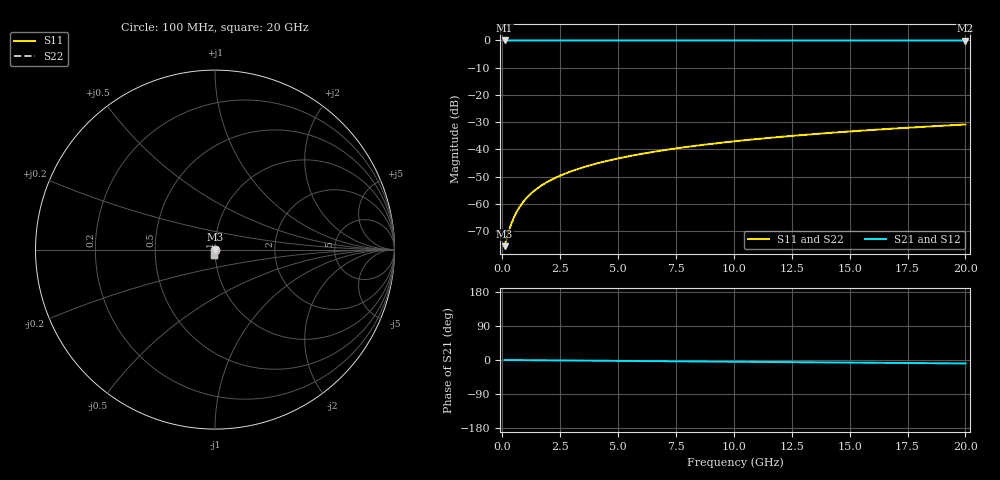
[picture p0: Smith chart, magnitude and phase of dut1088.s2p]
! Touchstone file exported from HFSS 2026.1.0
!  File:  C:/ffzhzh/LocalFiles/Ansys_Project_Files/temp_train_TSV_1088_1783190260_18472.aedt
!  Generated:  02:39:09 AM Jul  5, 2026
!  Design:  TSV
!  Project:  temp_train_TSV_1088_1783190260_18472
! Variables:
!  h_bsmrdl = 2um
!  h_ox = 20um
!  h_rdl = 5um
!  h_sub = 94.39um
!  h_tmrdl = 5um
!  h_tsv = 94.39um
!  h_via = 3um
!  l_bsmrdl = 300um
!  l_sub = 420.86um
!  l_tmrdl = 200um
!  m_sub = 200um
!  pitch = 35.45um
!  r_tsv = 10.43um
!  s_tmrdl = 10um
!  w_bsmrdl = 18um
!  w_sub = 500um
!  w_tmrdl = 12um
!  x_tsv_center1 = 206um
!  x_tsv_center2 = 524um
!  x_tsv_center3 = 736um
!  x_tsv_center4 = 1054um
!  x_tsv_center5 = 1266um
!  x_tsv_center6 = 1584um
# GHz S MA R 50.000000
! Terminal data exported
! Port[1] = TSV1_1_T1
! Port[2] = TSV1_1_T2
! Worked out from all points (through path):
!   200 points, 100 MHz to 20 GHz, reference 50 ohm
!   highest |S21| = 0.00 dB at 100 MHz (marker M1); lowest = 0.0 dB at 20 GHz (marker M2)
!   group delay of S21, straight-line fit = 1.26 ps
!   lowest |S11| = -75.5 dB at 100 MHz (marker M3), VSWR 1.00, Z = 50 - j0.00899 ohm
!   |S11| at or under -10 dB: start of sweep to end of sweep
!   |S22| runs from -75.5 to -30.9 dB; largest |S21 - S12| = 3.8e-15
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0.1  0.0001674 -32.5  0.9999 -0.0  0.9999 -0.0  0.0001674 -32.5
! Gamma 0 0 0 0
! Port Impedance 50 0 50 0
0.2  0.0002415 -49.5  0.9998 -0.1  0.9998 -0.1  0.0002415 -49.5
0.3  0.0003365 -57.7  0.9998 -0.1  0.9998 -0.1  0.0003365 -57.7
0.4  0.0004442 -62.2  0.9998 -0.2  0.9998 -0.2  0.0004442 -62.2
0.5  0.0005614 -65.1  0.9998 -0.2  0.9998 -0.2  0.0005614 -65.1
0.6  0.0006854 -67.3  0.9997 -0.3  0.9997 -0.3  0.0006854 -67.3
0.8  0.0009469 -70.5  0.9997 -0.4  0.9997 -0.4  0.0009469 -70.5
1.1  0.001355 -74.0  0.9996 -0.5  0.9996 -0.5  0.001355 -74.0
1.3  0.001632 -75.8  0.9996 -0.6  0.9996 -0.6  0.001632 -75.8
1.5  0.001909 -77.3  0.9996 -0.7  0.9996 -0.7  0.001909 -77.3
1.8  0.002326 -79.0  0.9995 -0.8  0.9995 -0.8  0.002326 -79.0
2.1  0.002743 -80.3  0.9995 -1.0  0.9995 -1.0  0.002743 -80.3
2.7  0.003579 -82.2  0.9994 -1.2  0.9994 -1.2  0.003579 -82.2
3.5  0.004699 -83.8  0.9994 -1.6  0.9994 -1.6  0.004699 -83.8
4.2  0.005688 -84.9  0.9993 -1.9  0.9993 -1.9  0.005688 -84.9
5  0.006826 -85.9  0.9992 -2.3  0.9992 -2.3  0.006826 -85.9
6.8  0.009413 -87.7  0.9991 -3.1  0.9991 -3.1  0.009413 -87.7
8.3  0.01159 -88.9  0.9989 -3.8  0.9989 -3.8  0.01159 -88.9
10.1  0.0142 -90.2  0.9988 -4.6  0.9988 -4.6  0.0142 -90.2
13.4  0.01901 -92.3  0.9986 -6.1  0.9986 -6.1  0.01901 -92.3
16.7  0.02383 -94.2  0.9983 -7.6  0.9983 -7.6  0.02383 -94.2
20  0.02866 -96.0  0.998 -9.1  0.998 -9.1  0.02866 -96.0
